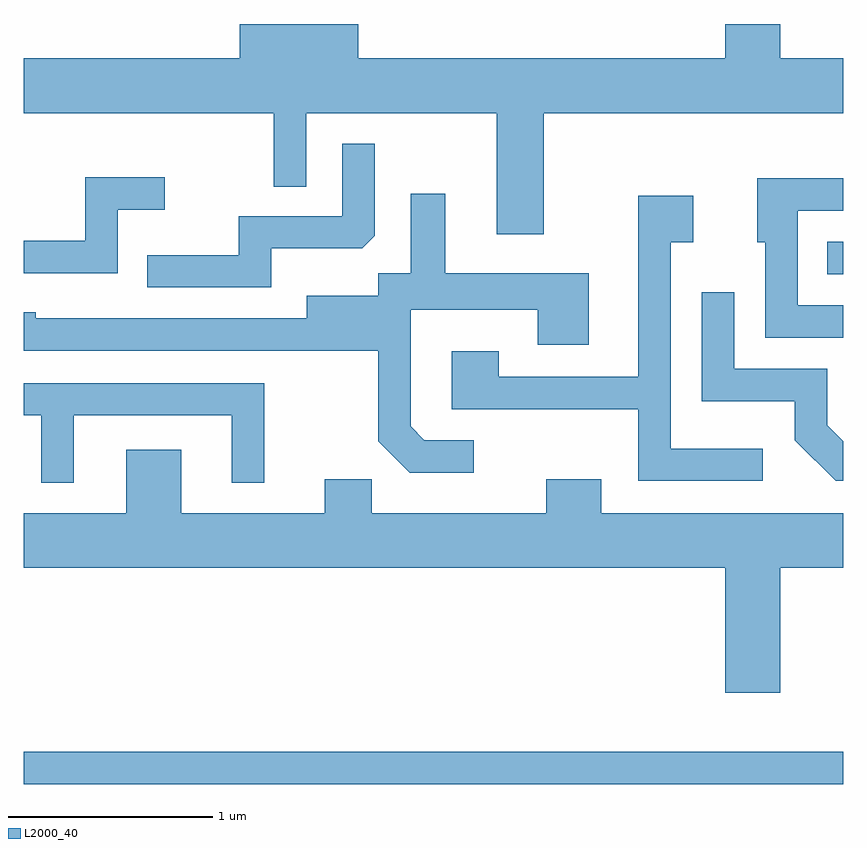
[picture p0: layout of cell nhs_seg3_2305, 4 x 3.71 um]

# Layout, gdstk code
import gdstk
lib = gdstk.Library(unit=1e-6, precision=1e-09)
def R(c, l, rs):  # rectangles x0, y0, x1, y1
    for r in rs: c.add(gdstk.rectangle(r[:2], r[2:], *l))
def P(c, l, *ps):  # polygons
    for p in ps: c.add(gdstk.Polygon(p, *l))
L2000_40 = (2000, 40)

nhs_seg3_2305 = lib.new_cell('nhs_seg3_2305')
R(nhs_seg3_2305, L2000_40, [(251.611,1238.181,255.611,1238.339), (255.533,1240.671,255.611,1240.829)])
P(nhs_seg3_2305, L2000_40, [(254.149,1241.456),(255.611,1241.456),(255.611,1241.724),(255.304,1241.724),(255.304,1241.892),(255.036,1241.892),(255.036,1241.724),(253.244,1241.724),(253.244,1241.892),(252.666,1241.892),(252.666,1241.724),(251.611,1241.724),(251.611,1241.456),(252.831,1241.456),(252.831,1241.098),(252.989,1241.098),(252.989,1241.456),(253.921,1241.456),(253.921,1240.866),(254.149,1240.866)],
  [(252.819,1240.796),(253.264,1240.796),(253.324,1240.857),(253.324,1241.308),(253.166,1241.308),(253.166,1240.954),(252.661,1240.954),(252.661,1240.764),(252.213,1240.764),(252.213,1240.606),(252.819,1240.606)],
  [(252.069,1240.986),(252.298,1240.986),(252.298,1241.144),(251.911,1241.144),(251.911,1240.834),(251.611,1240.834),(251.611,1240.676),(252.069,1240.676)],
  [(255.611,1240.519),(255.389,1240.519),(255.389,1240.981),(255.611,1240.981),(255.611,1241.139),(255.191,1241.139),(255.191,1240.826),(255.231,1240.826),(255.231,1240.361),(255.611,1240.361)],
  [(253.808,1239.859),(253.567,1239.859),(253.499,1239.927),(253.499,1240.496),(254.121,1240.496),(254.121,1240.326),(254.369,1240.326),(254.369,1240.674),(253.669,1240.674),(253.669,1241.063),(253.501,1241.063),(253.501,1240.674),(253.341,1240.674),(253.341,1240.564),(252.991,1240.564),(252.991,1240.454),(251.669,1240.454),(251.669,1240.484),(251.611,1240.484),(251.611,1240.296),(253.341,1240.296),(253.341,1239.854),(253.494,1239.701),(253.808,1239.701)],
  [(255.218,1239.819),(254.769,1239.819),(254.769,1240.826),(254.879,1240.826),(254.879,1241.054),(254.611,1241.054),(254.611,1240.169),(253.929,1240.169),(253.929,1240.294),(253.701,1240.294),(253.701,1240.011),(254.611,1240.011),(254.611,1239.661),(255.218,1239.661)],
  [(255.611,1239.855),(255.534,1239.932),(255.534,1240.209),(255.079,1240.209),(255.079,1240.583),(254.921,1240.583),(254.921,1240.051),(255.376,1240.051),(255.376,1239.859),(255.574,1239.661),(255.611,1239.661)],
  [(251.854,1239.981),(252.626,1239.981),(252.626,1239.653),(252.784,1239.653),(252.784,1240.139),(251.611,1240.139),(251.611,1239.981),(251.696,1239.981),(251.696,1239.653),(251.854,1239.653)],
  [(255.304,1239.236),(255.611,1239.236),(255.611,1239.504),(254.429,1239.504),(254.429,1239.669),(254.161,1239.669),(254.161,1239.504),(253.309,1239.504),(253.309,1239.669),(253.081,1239.669),(253.081,1239.504),(252.379,1239.504),(252.379,1239.814),(252.111,1239.814),(252.111,1239.504),(251.611,1239.504),(251.611,1239.236),(255.036,1239.236),(255.036,1238.626),(255.304,1238.626)])

lib.write_gds('nhs_seg3_2305.gds')
